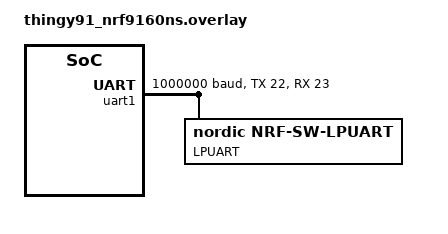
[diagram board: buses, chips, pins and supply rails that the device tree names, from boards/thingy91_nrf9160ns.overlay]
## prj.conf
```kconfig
#
# Copyright (c) 2020 Nordic Semiconductor ASA
#
# SPDX-License-Identifier: LicenseRef-Nordic-5-Clause
#

# Networking
CONFIG_NETWORKING=y
CONFIG_NET_NATIVE=n
CONFIG_NET_SOCKETS_OFFLOAD=y
CONFIG_NET_SOCKETS=y
CONFIG_NET_SOCKETS_POSIX_NAMES=y

# LTE link control
CONFIG_LTE_LINK_CONTROL=y
CONFIG_LTE_AUTO_INIT_AND_CONNECT=n
CONFIG_AT_HOST_LOG_LEVEL_DBG=y

# Modem library
CONFIG_NRF_MODEM_LIB=y

CONFIG_LTE_LOCK_BANDS=y
# Enable band 2, 3, 4, 8, 12, 13 ,20 and 28
CONFIG_LTE_LOCK_BAND_MASK="1000000010000001100010001110"

# AT Host
CONFIG_UART_INTERRUPT_DRIVEN=y
CONFIG_AT_HOST_LIBRARY=n
CONFIG_AT_HOST_UART_0=y

# Disable Modem traces, since we need UART1 for HCI
CONFIG_NRF_MODEM_LIB_TRACE_ENABLED=n

# MQTT
CONFIG_MQTT_LIB=y
CONFIG_MQTT_LIB_TLS=n
CONFIG_MQTT_CLEAN_SESSION=y

# Application
# CONFIG_MQTT_PUB_TOPIC="my/publish/topic"
# CONFIG_MQTT_SUB_TOPIC="my/subscribe/topic"
# CONFIG_MQTT_CLIENT_ID="my-client-id"
# CONFIG_MQTT_BROKER_HOSTNAME="mqtt.eclipseprojects.io"
# CONFIG_MQTT_BROKER_PORT=1883

# Button support
CONFIG_DK_LIBRARY=y

# Enable logging
CONFIG_LOG=y
CONFIG_MQTT_SIMPLE_LOG_LEVEL_DBG=y

# NewLib C
CONFIG_NEWLIB_LIBC=y

# Enable Bluetooth stack and libraries
CONFIG_BT=y
CONFIG_BT_H4=y
CONFIG_BT_WAIT_NOP=y
CONFIG_BT_CENTRAL=y
CONFIG_BT_GATT_CLIENT=y
CONFIG_BT_GATT_DM=y
CONFIG_BT_SCAN=y
CONFIG_BT_SCAN_FILTER_ENABLE=y
CONFIG_BT_SCAN_MANUFACTURER_DATA_CNT=1

CONFIG_BT_BONDABLE=n
CONFIG_BT_L2CAP_TX_MTU=247
CONFIG_BT_HCI_ACL_FLOW_CONTROL=y
CONFIG_UART_INTERRUPT_DRIVEN=y
CONFIG_BT_MAX_CONN=1
CONFIG_BT_AUTO_PHY_UPDATE=y
CONFIG_BT_DATA_LEN_UPDATE=y

# Heap and stacks
CONFIG_HEAP_MEM_POOL_SIZE=16384
CONFIG_MAIN_STACK_SIZE=8192
```

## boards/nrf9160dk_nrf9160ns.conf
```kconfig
CONFIG_NRF_SW_LPUART=y
CONFIG_NRF_SW_LPUART_INT_DRIVEN=y

CONFIG_UART_2_ASYNC=y
CONFIG_UART_2_INTERRUPT_DRIVEN=n
CONFIG_UART_2_NRF_HW_ASYNC=y
CONFIG_UART_2_NRF_HW_ASYNC_TIMER=2
```

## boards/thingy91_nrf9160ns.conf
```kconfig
CONFIG_NRF_SW_LPUART=y
CONFIG_NRF_SW_LPUART_INT_DRIVEN=y

CONFIG_UART_1_ASYNC=y
CONFIG_UART_1_INTERRUPT_DRIVEN=n
CONFIG_UART_1_NRF_HW_ASYNC=y
CONFIG_UART_1_NRF_HW_ASYNC_TIMER=2

CONFIG_USE_SEGGER_RTT=y
CONFIG_RTT_CONSOLE=y
CONFIG_UART_CONSOLE=n

CONFIG_LOG_BACKEND_RTT=y
```

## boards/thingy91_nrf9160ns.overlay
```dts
/ {
	chosen {
		zephyr,bt-uart=&lpuart;
	};
};

&uart1 {
	current-speed = <1000000>;
	status = "okay";
	tx-pin = <22>;
	rx-pin = <23>;
	/delete-property/ rts-pin;
	/delete-property/ cts-pin;
	/delete-property/ hw-flow-control;

	lpuart: nrf-sw-lpuart {
		compatible = "nordic,nrf-sw-lpuart";
		status = "okay";
		label = "LPUART";
		req-pin = <24>;
		rdy-pin = <25>;
	};
};

/* Disabling uart rx pin to get low power */
&uart0 {
	/delete-property/ rx-pin;
	/delete-property/ rts-pin;
	/delete-property/ cts-pin;
};
```

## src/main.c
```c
/*
 * Copyright (c) 2018 Nordic Semiconductor ASA
 *
 * SPDX-License-Identifier: LicenseRef-Nordic-5-Clause
 */

#include <zephyr.h>
#include <stdio.h>
#include <drivers/uart.h>
#include <string.h>
#include <random/rand32.h>
#include <net/mqtt.h>
#include <net/socket.h>
#include <modem/at_cmd.h>
#include <modem/lte_lc.h>
#include <logging/log.h>
#if defined(CONFIG_MODEM_KEY_MGMT)
#include <modem/modem_key_mgmt.h>
#endif
#if defined(CONFIG_LWM2M_CARRIER)
#include <lwm2m_carrier.h>
#endif
#include <dk_buttons_and_leds.h>


#define LTE_ON
#define WITH_BLE

#ifdef WITH_BLE

#include <bluetooth/bluetooth.h>
#include <bluetooth/uuid.h>
#include <bluetooth/gatt.h>
#include <bluetooth/hci.h>
#include <bluetooth/gatt_dm.h>
#include <bluetooth/scan.h>

#endif

#include "certificates.h"


LOG_MODULE_REGISTER(mqtt_simple, CONFIG_MQTT_SIMPLE_LOG_LEVEL);

/* Buffers for MQTT client. */
static uint8_t rx_buffer[CONFIG_MQTT_MESSAGE_BUFFER_SIZE];
static uint8_t tx_buffer[CONFIG_MQTT_MESSAGE_BUFFER_SIZE];
static uint8_t payload_buf[CONFIG_MQTT_PAYLOAD_BUFFER_SIZE];

/* The mqtt client struct */
static struct mqtt_client client;

/* MQTT Broker details. */
static struct sockaddr_storage broker;

/* File descriptor */
static struct pollfd fds;

#if defined(CONFIG_MQTT_LIB_TLS)
static int certificates_provision(void)
{
	int err = 0;

	LOG_INF("Provisioning certificates");

#if defined(CONFIG_NRF_MODEM_LIB) && defined(CONFIG_MODEM_KEY_MGMT)

	err = modem_key_mgmt_write(CONFIG_MQTT_TLS_SEC_TAG,
				   MODEM_KEY_MGMT_CRED_TYPE_CA_CHAIN,
				   CA_CERTIFICATE, strlen(CA_CERTIFICATE));
	if (err) {
		LOG_ERR("Failed to provision CA certificate: %d", err);
		return err;
	}

#elif defined(CONFIG_BOARD_QEMU_X86) && defined(CONFIG_NET_SOCKETS_SOCKOPT_TLS)

	err = tls_credential_add(CONFIG_MQTT_TLS_SEC_TAG,
				 TLS_CREDENTIAL_CA_CERTIFICATE, CA_CERTIFICATE,
				 sizeof(CA_CERTIFICATE));
	if (err) {
		LOG_ERR("Failed to register CA certificate: %d", err);
		return err;
	}

#endif

	return err;
}
#endif /* defined(CONFIG_MQTT_LIB_TLS) */

#if defined(CONFIG_NRF_MODEM_LIB)

/**@brief Recoverable modem library error. */
void nrf_modem_recoverable_error_handler(uint32_t err)
{
	LOG_ERR("Modem library recoverable error: %u", (unsigned int)err);
}

#endif /* defined(CONFIG_NRF_MODEM_LIB) */

#if defined(CONFIG_LWM2M_CARRIER)
K_SEM_DEFINE(carrier_registered, 0, 1);
int lwm2m_carrier_event_handler(const lwm2m_carrier_event_t *event)
{
	switch (event->type) {
	case LWM2M_CARRIER_EVENT_BSDLIB_INIT:
		LOG_INF("LWM2M_CARRIER_EVENT_BSDLIB_INIT");
		break;
	case LWM2M_CARRIER_EVENT_CONNECTING:
		LOG_INF("LWM2M_CARRIER_EVENT_CONNECTING");
		break;
	case LWM2M_CARRIER_EVENT_CONNECTED:
		LOG_INF("LWM2M_CARRIER_EVENT_CONNECTED");
		break;
	case LWM2M_CARRIER_EVENT_DISCONNECTING:
		LOG_INF("LWM2M_CARRIER_EVENT_DISCONNECTING");
		break;
	case LWM2M_CARRIER_EVENT_DISCONNECTED:
		LOG_INF("LWM2M_CARRIER_EVENT_DISCONNECTED");
		break;
	case LWM2M_CARRIER_EVENT_BOOTSTRAPPED:
		LOG_INF("LWM2M_CARRIER_EVENT_BOOTSTRAPPED");
		break;
	case LWM2M_CARRIER_EVENT_REGISTERED:
		LOG_INF("LWM2M_CARRIER_EVENT_REGISTERED");
		k_sem_give(&carrier_registered);
		break;
	case LWM2M_CARRIER_EVENT_DEFERRED:
		LOG_INF("LWM2M_CARRIER_EVENT_DEFERRED");
		break;
	case LWM2M_CARRIER_EVENT_FOTA_START:
		LOG_INF("LWM2M_CARRIER_EVENT_FOTA_START");
		break;
	case LWM2M_CARRIER_EVENT_REBOOT:
		LOG_INF("LWM2M_CARRIER_EVENT_REBOOT");
		break;
	case LWM2M_CARRIER_EVENT_LTE_READY:
		LOG_INF("LWM2M_CARRIER_EVENT_LTE_READY");
		break;
	case LWM2M_CARRIER_EVENT_ERROR:
		LOG_ERR("LWM2M_CARRIER_EVENT_ERROR: code %d, value %d",
			((lwm2m_carrier_event_error_t *)event->data)->code,
			((lwm2m_carrier_event_error_t *)event->data)->value);
		break;
	default:
		LOG_WRN("Unhandled LWM2M_CARRIER_EVENT: %d", event->type);
		break;
	}

	return 0;
}
#endif /* defined(CONFIG_LWM2M_CARRIER) */

/**@brief Function to print strings without null-termination
 */
static void data_print(uint8_t *prefix, uint8_t *data, size_t len)
{
	char buf[len + 1];

	memcpy(buf, data, len);
	buf[len] = 0;
	LOG_INF("%s%s", log_strdup(prefix), log_strdup(buf));
}

/**@brief Function to publish data on the configured topic
 */
static int data_publish(struct mqtt_client *c, enum mqtt_qos qos, uint8_t *data,
			size_t len)
{
	struct mqtt_publish_param param;

	param.message.topic.qos = qos;
	param.message.topic.topic.utf8 = CONFIG_MQTT_PUB_TOPIC;
	param.message.topic.topic.size = strlen(CONFIG_MQTT_PUB_TOPIC);
	param.message.payload.data = data;
	param.message.payload.len = len;
	param.message_id = k_cycle_get_32();
	param.dup_flag = 0;
	param.retain_flag = 0;

	data_print("Publishing: ", data, len);
	LOG_INF("to topic: %s len: %u", CONFIG_MQTT_PUB_TOPIC,
		(unsigned int)strlen(CONFIG_MQTT_PUB_TOPIC));

	return mqtt_publish(c, &param);
}

/**@brief Function to subscribe to the configured topic
 */
static int subscribe(void)
{
	struct mqtt_topic subscribe_topic = {
		.topic = { .utf8 = CONFIG_MQTT_SUB_TOPIC,
			   .size = strlen(CONFIG_MQTT_SUB_TOPIC) },
		.qos = MQTT_QOS_1_AT_LEAST_ONCE
	};

	const struct mqtt_subscription_list subscription_list = {
		.list = &subscribe_topic, .list_count = 1, .message_id = 1234
	};

	LOG_INF("Subscribing to: %s len %u", CONFIG_MQTT_SUB_TOPIC,
		(unsigned int)strlen(CONFIG_MQTT_SUB_TOPIC));

	return mqtt_subscribe(&client, &subscription_list);
}

/**@brief Function to read the published payload.
 */
static int publish_get_payload(struct mqtt_client *c, size_t length)
{
	if (length > sizeof(payload_buf)) {
		return -EMSGSIZE;
	}

	return mqtt_readall_publish_payload(c, payload_buf, length);
}

/**@brief MQTT client event handler
 */
void mqtt_evt_handler(struct mqtt_client *const c, const struct mqtt_evt *evt)
{
	int err;

	switch (evt->type) {
	case MQTT_EVT_CONNACK:
		if (evt->result != 0) {
			LOG_ERR("MQTT connect failed: %d", evt->result);
			break;
		}

		LOG_INF("MQTT client connected");
		subscribe();
		break;

	case MQTT_EVT_DISCONNECT:
		LOG_INF("MQTT client disconnected: %d", evt->result);
		break;

	case MQTT_EVT_PUBLISH: {
		const struct mqtt_publish_param *p = &evt->param.publish;

		LOG_INF("MQTT PUBLISH result=%d len=%d", evt->result,
			p->message.payload.len);
		err = publish_get_payload(c, p->message.payload.len);

		if (p->message.topic.qos == MQTT_QOS_1_AT_LEAST_ONCE) {
			const struct mqtt_puback_param ack = {
				.message_id = p->message_id
			};

			/* Send acknowledgment. */
			mqtt_publish_qos1_ack(&client, &ack);
		}

		if (err >= 0) {
			data_print("Received: ", payload_buf,
				   p->message.payload.len);
			/* Echo back received data */
			data_publish(&client, MQTT_QOS_1_AT_LEAST_ONCE,
				     payload_buf, p->message.payload.len);
		} else {
			LOG_ERR("publish_get_payload failed: %d", err);
			LOG_INF("Disconnecting MQTT client...");

			err = mqtt_disconnect(c);
			if (err) {
				LOG_ERR("Could not disconnect: %d", err);
			}
		}
	} break;

	case MQTT_EVT_PUBACK:
		if (evt->result != 0) {
			LOG_ERR("MQTT PUBACK error: %d", evt->result);
			break;
		}

		LOG_INF("PUBACK packet id: %u", evt->param.puback.message_id);
		break;

	case MQTT_EVT_SUBACK:
		if (evt->result != 0) {
			LOG_ERR("MQTT SUBACK error: %d", evt->result);
			break;
		}

		LOG_INF("SUBACK packet id: %u", evt->param.suback.message_id);
		break;

	case MQTT_EVT_PINGRESP:
		if (evt->result != 0) {
			LOG_ERR("MQTT PINGRESP error: %d", evt->result);
		}
		break;

	default:
		LOG_INF("Unhandled MQTT event type: %d", evt->type);
		break;
	}
}

/**@brief Resolves the configured hostname and
 * initializes the MQTT broker structure
 */
static int broker_init(void)
{
	int err;
	struct addrinfo *result;
	struct addrinfo *addr;
	struct addrinfo hints = { .ai_family = AF_INET,
				  .ai_socktype = SOCK_STREAM };

	err = getaddrinfo(CONFIG_MQTT_BROKER_HOSTNAME, NULL, &hints, &result);
	if (err) {
		LOG_ERR("getaddrinfo failed: %d", err);
		return -ECHILD;
	}

	addr = result;

	/* Look for address of the broker. */
	while (addr != NULL) {
		/* IPv4 Address. */
		if (addr->ai_addrlen == sizeof(struct sockaddr_in)) {
			struct sockaddr_in *broker4 =
				((struct sockaddr_in *)&broker);
			char ipv4_addr[NET_IPV4_ADDR_LEN];

			broker4->sin_addr.s_addr =
				((struct sockaddr_in *)addr->ai_addr)
					->sin_addr.s_addr;
			broker4->sin_family = AF_INET;
			broker4->sin_port = htons(CONFIG_MQTT_BROKER_PORT);

			inet_ntop(AF_INET, &broker4->sin_addr.s_addr, ipv4_addr,
				  sizeof(ipv4_addr));
			LOG_INF("IPv4 Address found %s", log_strdup(ipv4_addr));

			break;
		} else {
			LOG_ERR("ai_addrlen = %u should be %u or %u",
				(unsigned int)addr->ai_addrlen,
				(unsigned int)sizeof(struct sockaddr_in),
				(unsigned int)sizeof(struct sockaddr_in6));
		}

		addr = addr->ai_next;
	}

	/* Free the address. */
	freeaddrinfo(result);

	return err;
}

#if defined(CONFIG_NRF_MODEM_LIB)
#define IMEI_LEN 15
#define CGSN_RESPONSE_LENGTH 19
#define CLIENT_ID_LEN sizeof("nrf-") + IMEI_LEN
#else
#define RANDOM_LEN 10
#define CLIENT_ID_LEN sizeof(CONFIG_BOARD) + 1 + RANDOM_LEN
#endif /* defined(CONFIG_NRF_MODEM_LIB) */

/* Function to get the client id */
static const uint8_t* client_id_get(void)
{
	static uint8_t client_id[MAX(sizeof(CONFIG_MQTT_CLIENT_ID),
				     CLIENT_ID_LEN)];

	if (strlen(CONFIG_MQTT_CLIENT_ID) > 0) {
		snprintf(client_id, sizeof(client_id), "%s",
			 CONFIG_MQTT_CLIENT_ID);
		goto exit;
	}

#if defined(CONFIG_NRF_MODEM_LIB)
	char imei_buf[CGSN_RESPONSE_LENGTH + 1];
	int err;

	if (!IS_ENABLED(CONFIG_AT_CMD_SYS_INIT)) {
		err = at_cmd_init();
		if (err) {
			LOG_ERR("at_cmd failed to initialize, error: %d", err);
			goto exit;
		}
	}

	err = at_cmd_write("AT+CGSN", imei_buf, sizeof(imei_buf), NULL);
	if (err) {
		LOG_ERR("Failed to obtain IMEI, error: %d", err);
		goto exit;
	}

	imei_buf[IMEI_LEN] = '\0';

	snprintf(client_id, sizeof(client_id), "nrf-%.*s", IMEI_LEN, imei_buf);
#else
	uint32_t id = sys_rand32_get();
	snprintf(client_id, sizeof(client_id), "%s-%010u", CONFIG_BOARD, id);
#endif /* !defined(NRF_CLOUD_CLIENT_ID) */

exit:
	LOG_DBG("client_id = %s", log_strdup(client_id));

	return client_id;
}

/**@brief Initialize the MQTT client structure
 */
static int client_init(struct mqtt_client *client)
{
	int err;

	mqtt_client_init(client);

	err = broker_init();
	if (err) {
		LOG_ERR("Failed to initialize broker connection");
		return err;
	}

	/* MQTT client configuration */
	client->broker = &broker;
	client->evt_cb = mqtt_evt_handler;
	client->client_id.utf8 = client_id_get();
	client->client_id.size = strlen(client->client_id.utf8);
	client->password = NULL;
	client->user_name = NULL;
	client->protocol_version = MQTT_VERSION_3_1_1;

	/* MQTT buffers configuration */
	client->rx_buf = rx_buffer;
	client->rx_buf_size = sizeof(rx_buffer);
	client->tx_buf = tx_buffer;
	client->tx_buf_size = sizeof(tx_buffer);

	/* MQTT transport configuration */
#if defined(CONFIG_MQTT_LIB_TLS)
	struct mqtt_sec_config *tls_cfg = &(client->transport).tls.config;
	static sec_tag_t sec_tag_list[] = { CONFIG_MQTT_TLS_SEC_TAG };

	LOG_INF("TLS enabled");
	client->transport.type = MQTT_TRANSPORT_SECURE;

	tls_cfg->peer_verify = CONFIG_MQTT_TLS_PEER_VERIFY;
	tls_cfg->cipher_count = 0;
	tls_cfg->cipher_list = NULL;
	tls_cfg->sec_tag_count = ARRAY_SIZE(sec_tag_list);
	tls_cfg->sec_tag_list = sec_tag_list;
	tls_cfg->hostname = CONFIG_MQTT_BROKER_HOSTNAME;

#if defined(CONFIG_NRF_MODEM_LIB)
	tls_cfg->session_cache = IS_ENABLED(CONFIG_MQTT_TLS_SESSION_CACHING) ?
					       TLS_SESSION_CACHE_ENABLED :
					       TLS_SESSION_CACHE_DISABLED;
#else
	/* TLS session caching is not supported by the Zephyr network stack */
	tls_cfg->session_cache = TLS_SESSION_CACHE_DISABLED;

#endif

#else
	client->transport.type = MQTT_TRANSPORT_NON_SECURE;
#endif

	return err;
}

/**@brief Initialize the file descriptor structure used by poll.
 */
static int fds_init(struct mqtt_client *c)
{
	if (c->transport.type == MQTT_TRANSPORT_NON_SECURE) {
		fds.fd = c->transport.tcp.sock;
	} else {
#if defined(CONFIG_MQTT_LIB_TLS)
		fds.fd = c->transport.tls.sock;
#else
		return -ENOTSUP;
#endif
	}

	fds.events = POLLIN;

	return 0;
}

#if defined(CONFIG_DK_LIBRARY)
static void button_handler(uint32_t button_states, uint32_t has_changed)
{
	if (has_changed & button_states &
	    BIT(CONFIG_BUTTON_EVENT_BTN_NUM - 1)) {
		int ret;

		ret = data_publish(&client, MQTT_QOS_1_AT_LEAST_ONCE,
				   CONFIG_BUTTON_EVENT_PUBLISH_MSG,
				   sizeof(CONFIG_BUTTON_EVENT_PUBLISH_MSG) - 1);
		if (ret) {
			LOG_ERR("Publish failed: %d", ret);
		}
	}
}
#endif

/**@brief Configures modem to provide LTE link. Blocks until link is
 * successfully established.
 */
static int modem_configure(void)
{
#if defined(CONFIG_LTE_LINK_CONTROL)
	/* Turn off LTE power saving features for a more responsive demo. Also,
	 * request power saving features before network registration. Some
	 * networks rejects timer updates after the device has registered to the
	 * LTE network.
	 */
	LOG_INF("Disabling PSM and eDRX");
	lte_lc_psm_req(false);
	lte_lc_edrx_req(false);

	if (IS_ENABLED(CONFIG_LTE_AUTO_INIT_AND_CONNECT)) {
		/* Do nothing, modem is already turned on
		 * and connected.
		 */
	} else {
#if defined(CONFIG_LWM2M_CARRIER)
		/* Wait for the LWM2M_CARRIER to configure the modem and
		 * start the connection.
		 */
		LOG_INF("Waitng for carrier registration...");
		k_sem_take(&carrier_registered, K_FOREVER);
		LOG_INF("Registered!");
#else /* defined(CONFIG_LWM2M_CARRIER) */
		int err;

		LOG_INF("LTE Link Connecting...");
		err = lte_lc_init_and_connect();
		if (err) {
			LOG_INF("Failed to establish LTE connection: %d", err);
			return err;
		}
		LOG_INF("LTE Link Connected!");
#endif /* defined(CONFIG_LWM2M_CARRIER) */
	}
#endif /* defined(CONFIG_LTE_LINK_CONTROL) */
	return 0;
}

#ifdef WITH_BLE

#define BT_ADDR  "06:09:16"

#define ADV_BUF_SIZE 128

static atomic_t ready;
static atomic_t active;

bool bt_parse_cb(struct bt_data *data, void *user_data) {

	LOG_INF("Parsed adv -- Type: %d", data->type);
	return true;
}

void scan_filter_match(struct bt_scan_device_info *device_info,
		       struct bt_scan_filter_match *filter_match,
		       bool connectable)
{
	char addr[BT_ADDR_LE_STR_LEN];

	bt_addr_le_to_str(device_info->recv_info->addr, addr, sizeof(addr));

	int ret = !strncmp(BT_ADDR, addr, 9);

	if(!ret) {
		LOG_INF("Device found: %s", log_strdup(addr));

		bt_data_parse(device_info->adv_data, bt_parse_cb, (void *)addr);
	} else {
		LOG_INF("Not a relevant address: %d", ret);
	}
}

void scan_connecting_error(struct bt_scan_device_info *device_info)
{
	LOG_ERR("Connection to peer failed!");
}

bool bt_parse_cb_nomatch(struct bt_data *data, void *user_data) {

	//LOG_INF("Device found: %s", log_strdup(user_data));

	char buffer[ADV_BUF_SIZE];

	switch(data->type) 
	{
		case BT_DATA_NAME_COMPLETE:

			memcpy(buffer, data->data, data->data_len);
			if(!strncmp("47:05:9B",buffer,data->data_len)) {
				char addr_str_le[BT_ADDR_LE_STR_LEN];
				bt_addr_le_to_str(user_data, addr_str_le, BT_ADDR_LE_STR_LEN);
				LOG_INF("Got LE address: %s ", log_strdup(addr_str_le));
			}

			break;

		default:
			//nothing here
			break;
	}

	return true;
}

void scan_filter_no_match(struct bt_scan_device_info *device_info,bool connectable) {

	
	bt_data_parse(device_info->adv_data, bt_parse_cb_nomatch, (void *)device_info->recv_info->addr);

}

BT_SCAN_CB_INIT(scan_cb, scan_filter_match, scan_filter_no_match, scan_connecting_error, NULL);

static void scan_stop(void)
{
	int err;

	LOG_INF("Stopping scan");

	err = bt_le_scan_stop();
	if (err) {
		LOG_ERR("bt_le_scan_stop: %d", err);
	} else {
		LOG_INF("STANDBY");
	}
}

static void scan_start(void)
{
	int err;

	struct bt_le_scan_param scan_param = {
		.type = BT_LE_SCAN_TYPE_ACTIVE,
		.options = BT_LE_SCAN_OPT_NONE,
		.interval = 0x0010,
		.window = 0x0010,
	};

	struct bt_scan_init_param scan_init = {
		.connect_if_match = 0,
		.scan_param = &scan_param,
		.conn_param = NULL,
	};

	bt_scan_init(&scan_init);
	bt_scan_cb_register(&scan_cb);

	//err = bt_scan_filter_add(BT_SCAN_FILTER_TYPE_UUID, BT_UUID_THINGY);
	//if (err) {
	//	LOG_ERR("UUID scanning filters cannot be set");
	//	return;
	//}
	
	static const uint16_t manufacturer_id = 0x028d;
    struct bt_scan_manufacturer_data id_filter;
    id_filter.data = (uint8_t*) &manufacturer_id;
    id_filter.data_len = 2;

	err = bt_scan_filter_add(BT_SCAN_FILTER_TYPE_MANUFACTURER_DATA, &id_filter);
	if (err) {
		LOG_ERR("MANUFACTURER scanning filters cannot be set");
		return;
	}

	err = bt_scan_filter_enable(BT_SCAN_MANUFACTURER_DATA_FILTER, false);
	if (err) {
		LOG_ERR("Filters cannot be turned on");
	}

	err = bt_scan_start(BT_SCAN_TYPE_SCAN_ACTIVE);
	if (err) {
		LOG_ERR("Scanning failed to start, err %d", err);
	}


	LOG_INF("Scanning...");
}

static void bt_ready(int err)
{
	if (err) {
		LOG_ERR("%s: %d", __func__, err);
		return;
	}

	atomic_set(&ready, true);

	atomic_set(&active, true);

	if (atomic_get(&active)) {
		scan_start();
	}
}

#endif

void main(void)
{
	int err;
	uint32_t connect_attempt = 0;

	LOG_INF("The MQTT simple sample started");

	#ifdef WITH_BLE
		err = bt_enable(bt_ready);
		if (err) {
			LOG_ERR("bt_enable: %d", err);
		}
	#endif

#if defined(CONFIG_MQTT_LIB_TLS)
	err = certificates_provision();
	if (err != 0) {
		LOG_ERR("Failed to provision certificates");
		return;
	}
#endif /* defined(CONFIG_MQTT_LIB_TLS) */

#ifdef LTE_ON
	do {
		err = modem_configure();
		if (err) {
			LOG_INF("Retrying in %d seconds",
				CONFIG_LTE_CONNECT_RETRY_DELAY_S);
			k_sleep(K_SECONDS(CONFIG_LTE_CONNECT_RETRY_DELAY_S));
		}
	} while (err);

	err = client_init(&client);
	if (err != 0) {
		LOG_ERR("client_init: %d", err);
		return;
	}
#endif

#if defined(CONFIG_DK_LIBRARY)
	dk_buttons_init(button_handler);
#endif

#ifdef LTE_ON
do_connect:
	if (connect_attempt++ > 0) {
		LOG_INF("Reconnecting in %d seconds...",
			CONFIG_MQTT_RECONNECT_DELAY_S);
		k_sleep(K_SECONDS(CONFIG_MQTT_RECONNECT_DELAY_S));
	}
	err = mqtt_connect(&client);
	if (err != 0) {
		LOG_ERR("mqtt_connect %d", err);
		goto do_connect;
	}

	err = fds_init(&client);
	if (err != 0) {
		LOG_ERR("fds_init: %d", err);
		return;
	}

	while (1) {
		err = poll(&fds, 1, mqtt_keepalive_time_left(&client));
		if (err < 0) {
			LOG_ERR("poll: %d", errno);
			break;
		}

		err = mqtt_live(&client);
		if ((err != 0) && (err != -EAGAIN)) {
			LOG_ERR("ERROR: mqtt_live: %d", err);
			break;
		}

		if ((fds.revents & POLLIN) == POLLIN) {
			err = mqtt_input(&client);
			if (err != 0) {
				LOG_ERR("mqtt_input: %d", err);
				break;
			}
		}

		if ((fds.revents & POLLERR) == POLLERR) {
			LOG_ERR("POLLERR");
			break;
		}

		if ((fds.revents & POLLNVAL) == POLLNVAL) {
			LOG_ERR("POLLNVAL");
			break;
		}
	}

	LOG_INF("Disconnecting MQTT client...");

	err = mqtt_disconnect(&client);
	if (err) {
		LOG_ERR("Could not disconnect MQTT client: %d", err);
	}
	goto do_connect;
	#else
	while (1) {
		//DO_NOTHING
		k_sleep(K_MSEC(100));
	}
	#endif
}
```
